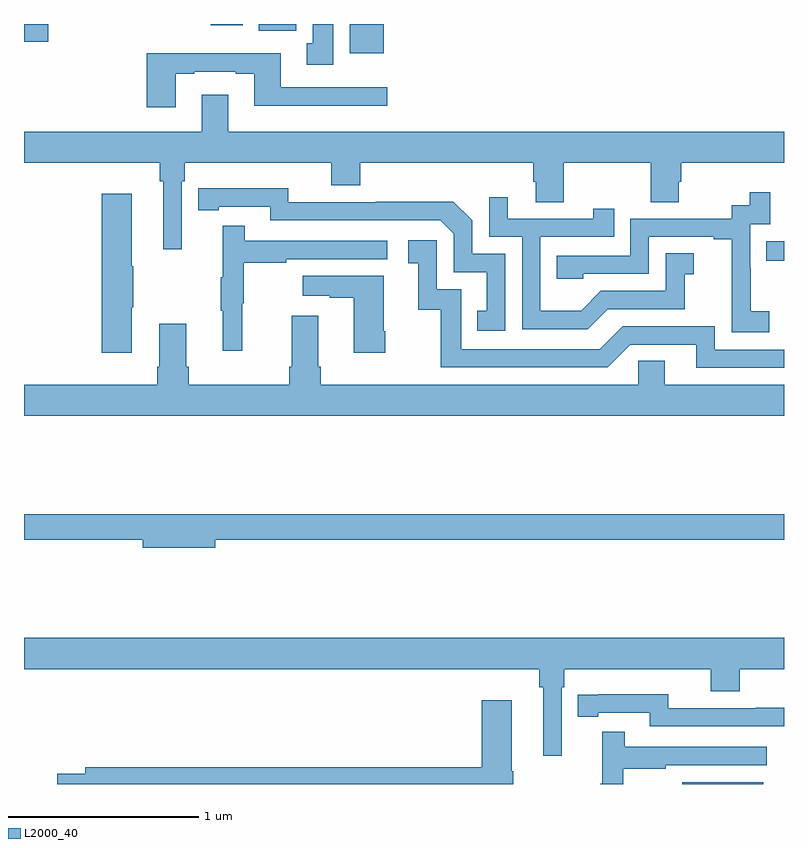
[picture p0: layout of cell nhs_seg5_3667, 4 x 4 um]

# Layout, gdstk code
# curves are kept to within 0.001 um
import gdstk
lib = gdstk.Library(unit=1e-6, precision=1e-09)
def R(c, l, rs):  # rectangles x0, y0, x1, y1
    for r in rs: c.add(gdstk.rectangle(r[:2], r[2:], *l))
def P(c, l, *ps):  # polygons
    for p in ps: c.add(gdstk.Polygon(p, *l))
L2000_40 = (2000, 40)

nhs_seg5_3667 = lib.new_cell('nhs_seg5_3667')
R(nhs_seg5_3667, L2000_40, [(330.465,878.799,330.892,878.809), (330.907,881.554,331,881.655), (328.715,882.644,328.894,882.799), (327,882.706,327.127,882.799), (328.235,882.764,328.432,882.799), (327.983,882.792,328.15,882.799)])
P(nhs_seg5_3667, L2000_40, [(328.627,882.799),(328.52,882.799),(328.52,882.698),(328.487,882.698),(328.487,882.585),(328.627,882.585)],
  [(327.799,882.537),(327.895,882.537),(327.895,882.549),(328.115,882.549),(328.115,882.537),(328.211,882.537),(328.211,882.368),(328.912,882.368),(328.912,882.465),(328.351,882.465),(328.351,882.646),(327.647,882.646),(327.647,882.36),(327.799,882.36)],
  [(327.831,881.972),(327.845,881.972),(327.845,882.068),(328.616,882.068),(328.616,881.951),(328.769,881.951),(328.769,882.068),(329.681,882.068),(329.681,881.97),(329.693,881.97),(329.693,881.86),(329.841,881.86),(329.841,882.068),(330.298,882.068),(330.298,881.86),(330.445,881.86),(330.445,881.97),(330.458,881.97),(330.458,882.068),(331,882.068),(331,882.232),(328.075,882.232),(328.075,882.427),(327.935,882.427),(327.935,882.232),(327,882.232),(327,882.068),(327.715,882.068),(327.715,881.972),(327.734,881.972),(327.734,881.613),(327.831,881.613)],
  [(329.532,881.589),(329.358,881.589),(329.358,881.766),(329.26,881.864),(328.852,881.864),(328.852,881.862),(328.392,881.862),(328.392,881.935),(327.916,881.934),(327.916,881.818),(328.024,881.818),(328.024,881.838),(328.296,881.838),(328.296,881.766),(329.19,881.766),(329.262,881.694),(329.262,881.493),(329.435,881.493),(329.435,881.289),(329.386,881.289),(329.386,881.184),(329.532,881.184)],
  [(330.922,881.287),(330.824,881.287),(330.824,881.516),(330.822,881.516),(330.822,881.745),(330.927,881.745),(330.927,881.914),(330.819,881.914),(330.819,881.844),(330.726,881.844),(330.726,881.775),(330.192,881.775),(330.192,881.58),(329.803,881.58),(329.803,881.457),(329.943,881.457),(329.943,881.484),(330.288,881.484),(330.288,881.679),(330.629,881.679),(330.629,881.667),(330.725,881.667),(330.725,881.383),(330.724,881.383),(330.724,881.177),(330.922,881.177)],
  [(327.568,881.308),(327.576,881.308),(327.576,881.525),(327.568,881.525),(327.568,881.905),(327.41,881.905),(327.41,881.07),(327.568,881.07)],
  [(330.073,881.298),(330.477,881.298),(330.477,881.483),(330.526,881.483),(330.526,881.593),(330.378,881.593),(330.378,881.394),(330.036,881.394),(329.932,881.29),(329.718,881.29),(329.718,881.679),(330.107,881.679),(330.107,881.827),(329.996,881.827),(329.996,881.775),(329.545,881.775),(329.545,881.887),(329.448,881.887),(329.448,881.679),(329.622,881.679),(329.622,881.193),(329.968,881.193)],
  [(328.148,881.328),(328.156,881.328),(328.156,881.542),(328.379,881.542),(328.379,881.562),(328.912,881.562),(328.912,881.658),(328.163,881.658),(328.163,881.737),(328.046,881.737),(328.046,881.465),(328.035,881.465),(328.035,881.291),(328.046,881.291),(328.046,881.079),(328.148,881.079)],
  [(331,881.085),(330.636,881.085),(330.636,881.208),(330.15,881.208),(330.03,881.088),(329.301,881.088),(329.301,881.403),(329.172,881.403),(329.172,881.662),(329.022,881.662),(329.022,881.541),(329.075,881.541),(329.075,881.295),(329.193,881.295),(329.193,880.992),(330.072,880.992),(330.192,881.112),(330.539,881.112),(330.539,880.989),(331,880.989)],
  [(328.902,881.182),(328.894,881.182),(328.894,881.473),(328.467,881.473),(328.467,881.369),(328.61,881.369),(328.61,881.359),(328.736,881.359),(328.736,881.07),(328.902,881.07)],
  [(331,880.9),(330.373,880.9),(330.373,881.027),(330.234,881.027),(330.234,880.9),(328.562,880.9),(328.562,880.996),(328.549,880.996),(328.549,881.263),(328.409,881.263),(328.409,880.996),(328.397,880.996),(328.397,880.9),(327.866,880.9),(327.866,880.996),(327.853,880.996),(327.853,881.221),(327.713,881.221),(327.713,880.996),(327.701,880.996),(327.701,880.9),(327,880.9),(327,880.736),(331,880.736)],
  [(328.006,880.084),(331,880.084),(331,880.22),(327,880.22),(327,880.084),(327.626,880.084),(327.626,880.042),(328.006,880.042)],
  [(329.829,879.308),(329.843,879.308),(329.843,879.404),(330.614,879.404),(330.614,879.287),(330.767,879.287),(330.767,879.404),(331,879.404),(331,879.568),(327,879.568),(327,879.404),(329.713,879.404),(329.713,879.308),(329.732,879.308),(329.732,878.949),(329.829,878.949)],
  [(331,879.2),(330.85,879.2),(330.85,879.198),(330.39,879.198),(330.39,879.271),(330.022,879.271),(330.022,879.27),(329.914,879.27),(329.914,879.154),(330.022,879.154),(330.022,879.174),(330.294,879.174),(330.294,879.102),(331,879.102)],
  [(329.574,878.865),(329.566,878.865),(329.566,879.241),(329.408,879.241),(329.408,878.888),(327.323,878.888),(327.323,878.852),(327.174,878.852),(327.174,878.799),(329.574,878.799)],
  [(330.154,878.878),(330.377,878.878),(330.377,878.898),(330.91,878.898),(330.91,878.994),(330.161,878.994),(330.161,879.073),(330.044,879.073),(330.044,878.801),(330.033,878.801),(330.033,878.799),(330.154,878.799)])

lib.write_gds('nhs_seg5_3667.gds')
